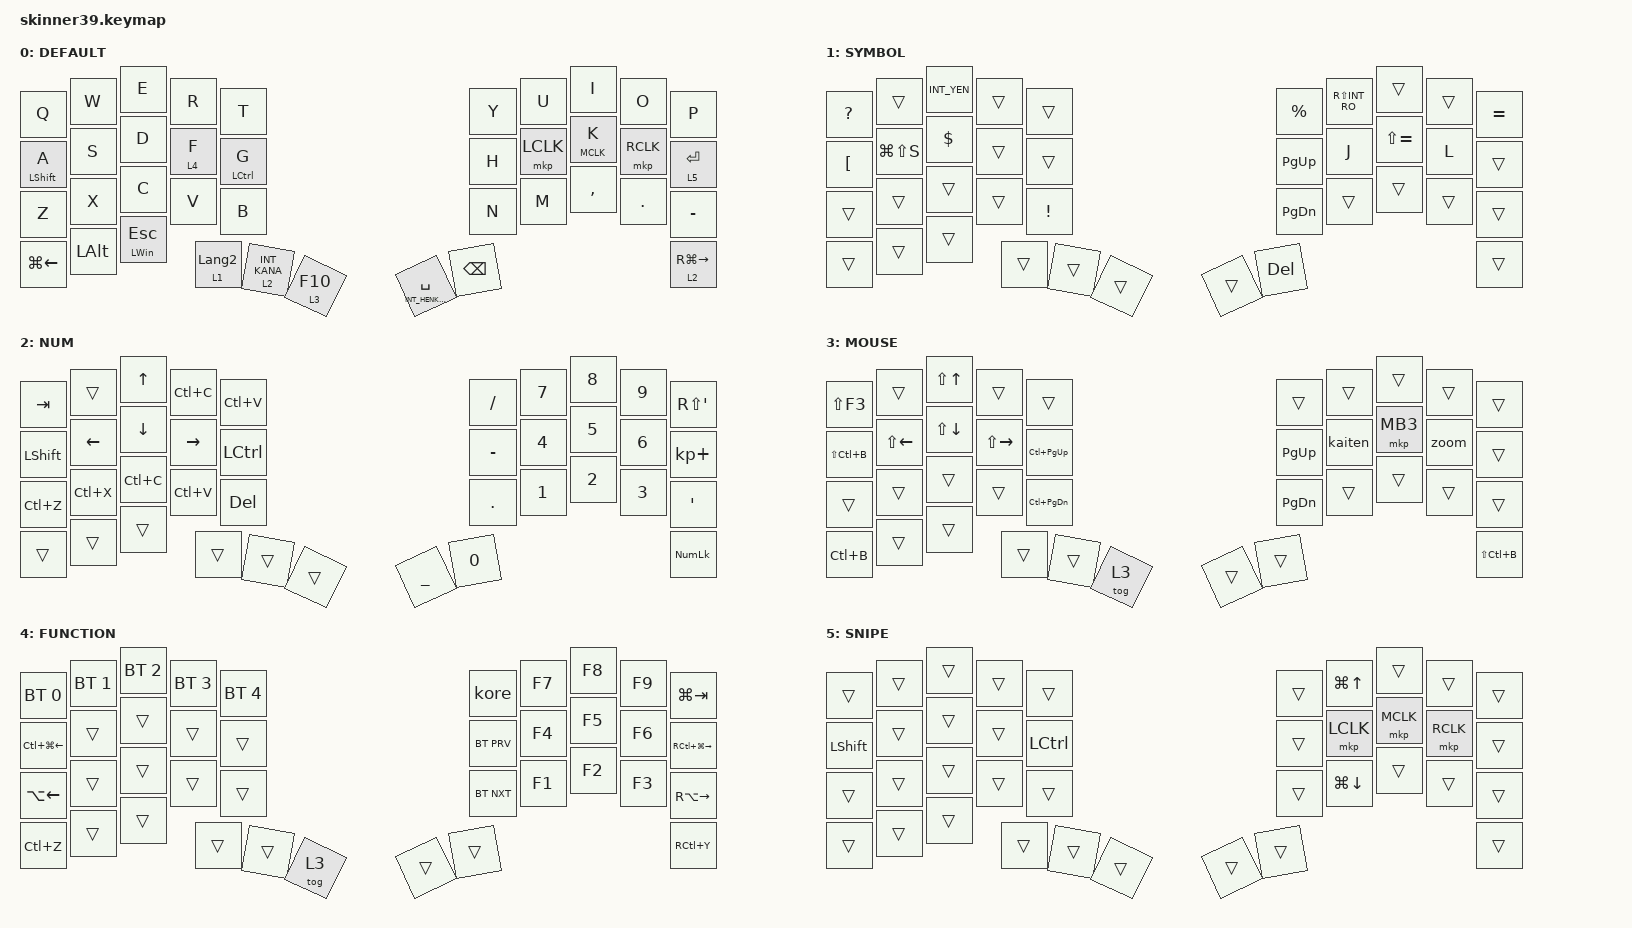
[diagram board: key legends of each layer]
/*
 * Skinner39 keymap — generated by Skinner39 Studio
 *
 * TRACKBALL: cpi=1400 scrollLayer=5 gestureLayer=4 invertX=0 invertY=1 scrollTick=12 amlEnabled=0 amlLayer=4 amlTimeout=600
 * TRACKBALL_GESTURES: up=C_UP down=C_DOWN left=C_LEFT right=C_RIGHT threshold=40
 *
 * トラックボール本体の設定は同時エクスポートされる trackball_settings.conf を参照
 */

#include <behaviors.dtsi>
#include <dt-bindings/zmk/keys.h>
#include <dt-bindings/zmk/bt.h>
#include <dt-bindings/zmk/outputs.h>
#include <dt-bindings/zmk/pointing.h>

&mt {
    tapping-term-ms = <250>;
    quick-tap-ms = <300>;
};

&lt {
    tapping-term-ms = <250>;
    quick-tap-ms = <300>;
};

/ {
    macros {
        kore: kore {
            compatible = "zmk,behavior-macro";
            #binding-cells = <0>;
            bindings = <&kp LS(N)
                &kp S
                &kp O
                &kp C
                &kp C
                &kp E
                &kp R
                &kp H>;
        };
        kaiten: kaiten {
                                    compatible = "zmk,behavior-macro";
                                    #binding-cells = <0>;
                                    bindings =
                                        <&macro_press>,
                                        <&mkp MCLK>,
                                        <&macro_wait_time 200>,
                                        <&mkp RCLK>,
                                        <&macro_pause_for_release>,
                                        <&macro_release>,
                                        <&mkp MCLK &mkp RCLK>;

                                    label = "KAITEN";
                                };
        zoom: zoom {
                                    compatible = "zmk,behavior-macro";
                                    #binding-cells = <0>;
                                    bindings =
                                        <&macro_press>,
                                        <&mkp MCLK>,
                                        <&macro_wait_time 100>,
                                        <&mkp RCLK>,
                                        <&macro_release>,
                                        <&mkp RCLK>,
                                        <&macro_pause_for_release>,
                                        <&macro_release>,
                                        <&mkp MCLK>;

                                    label = "ZOOM";
                                };
    };

    combos {
        compatible = "zmk,combos";
        combo_aa {
            timeout-ms = <50>;
            key-positions = <30 38>;
            bindings = <&bt BT_CLR>;
            layers = <4>;
            require-prior-idle-ms = <500>;
        };
        combo_ss {
            timeout-ms = <50>;
            key-positions = <38 9 19>;
            bindings = <&bootloader>;
            require-prior-idle-ms = <500>;
        };
        combo_sr {
            timeout-ms = <50>;
            key-positions = <0 10 30>;
            bindings = <&bootloader>;
            require-prior-idle-ms = <500>;
        };
        combo_winlock {
            timeout-ms = <50>;
            key-positions = <32 18>;
            bindings = <&kp LG(L)>;
            require-prior-idle-ms = <200>;
        };
    };

    behaviors {


        a_shift: a_shift {
            compatible = "zmk,behavior-hold-tap";
            label = "A_SHIFT";
            bindings = <&kp>, <&kp>;

            #binding-cells = <2>;
            tapping-term-ms = <250>;
            flavor = "balanced";
            quick-tap-ms = <300>;
            require-prior-idle-ms = <150>;
            hold-trigger-on-release;
        };

        mid: mid {
            compatible = "zmk,behavior-hold-tap";
            label = "MID";
            #binding-cells = <2>;
            tapping-term-ms = <150>;
            flavor = "balanced";
            bindings = <&mkp>, <&kp>;
        };
    };

    keymap {
        compatible = "zmk,keymap";

        DEFAULT {
            bindings = <
                &kp Q  &kp W  &kp E  &kp R  &kp T  &kp Y  &kp U  &kp I  &kp O  &kp P
                &a_shift LEFT_SHIFT A  &kp S  &kp D  &lt 4 F  &a_shift LCTRL G  &kp H  &mkp LCLK  &mid MCLK K  &mkp RCLK  &lt 5 RET
                &kp Z  &kp X  &kp C  &kp V  &kp B  &kp N  &kp M  &kp COMMA  &kp PERIOD  &kp MINUS
                &kp LG(LEFT)  &kp LEFT_ALT  &mt LEFT_WIN ESCAPE  &lt 1 LANGUAGE_2  &lt 2 INT_KANA  &lt 3 F10  &mt INT_HENKAN SPACE  &kp BACKSPACE  &lt 2 RG(RIGHT)
            >;
        };

        SYMBOL {
            bindings = <
                &kp QUESTION  &trans  &kp INT_YEN  &trans  &trans  &kp PERCENT  &kp RS(INT_RO)  &trans  &trans  &kp EQUAL
                &kp LEFT_BRACKET  &kp LG(LS(S))  &kp DOLLAR  &trans  &trans  &kp PAGE_UP  &kp J  &kp LS(EQUAL)  &kp L  &trans
                &trans  &trans  &trans  &trans  &kp EXCL  &kp PAGE_DOWN  &trans  &trans  &trans  &trans
                &trans  &trans  &trans  &trans  &trans  &trans  &trans  &kp DEL  &trans
            >;
        };

        NUM {
            bindings = <
                &kp TAB  &trans  &kp UP_ARROW  &kp LC(C)  &kp LC(V)  &kp FSLH  &kp N7  &kp N8  &kp N9  &kp RS(APOS)
                &kp LEFT_SHIFT  &kp LEFT  &kp DOWN_ARROW  &kp RIGHT  &kp LCTRL  &kp MINUS  &kp N4  &kp N5  &kp N6  &kp KP_PLUS
                &kp LC(Z)  &kp LC(X)  &kp LC(C)  &kp LC(V)  &kp DEL  &kp DOT  &kp N1  &kp N2  &kp N3  &kp APOS
                &trans  &trans  &trans  &trans  &trans  &trans  &kp UNDER  &kp N0  &kp KP_NUMLOCK
            >;
        };

        MOUSE {
            bindings = <
                &kp LS(F3)  &trans  &kp LS(UP_ARROW)  &trans  &trans  &trans  &trans  &trans  &trans  &trans
                &kp LS(LC(B))  &kp LS(LEFT)  &kp LS(DOWN_ARROW)  &kp LS(RIGHT)  &kp LC(PG_UP)  &kp PG_UP  &kaiten  &mkp MB3  &zoom  &trans
                &trans  &trans  &trans  &trans  &kp LC(PAGE_DOWN)  &kp PAGE_DOWN  &trans  &trans  &trans  &trans
                &kp LC(B)  &trans  &trans  &trans  &trans  &tog 3  &trans  &trans  &kp LS(LC(B))
            >;
        };

        FUNCTION {
            bindings = <
                &bt BT_SEL 0  &bt BT_SEL 1  &bt BT_SEL 2  &bt BT_SEL 3  &bt BT_SEL 4  &kore  &kp F7  &kp F8  &kp F9  &kp LG(TAB)
                &kp LC(LG(LEFT))  &trans  &trans  &trans  &trans  &bt BT_PRV  &kp F4  &kp F5  &kp F6  &kp RC(LG(RIGHT))
                &kp LA(LEFT)  &trans  &trans  &trans  &trans  &bt BT_NXT  &kp F1  &kp F2  &kp F3  &kp RA(RIGHT)
                &kp LC(Z)  &trans  &trans  &trans  &trans  &tog 3  &trans  &trans  &kp RC(Y)
            >;
        };

        SNIPE {
            bindings = <
                &trans  &trans  &trans  &trans  &trans  &trans  &kp LG(UP_ARROW)  &trans  &trans  &trans
                &kp LEFT_SHIFT  &trans  &trans  &trans  &kp LEFT_CONTROL  &trans  &mkp LCLK  &mkp MCLK  &mkp RCLK  &trans
                &trans  &trans  &trans  &trans  &trans  &trans  &kp LG(DOWN)  &trans  &trans  &trans
                &trans  &trans  &trans  &trans  &trans  &trans  &trans  &trans  &trans
            >;
        };

    };
};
